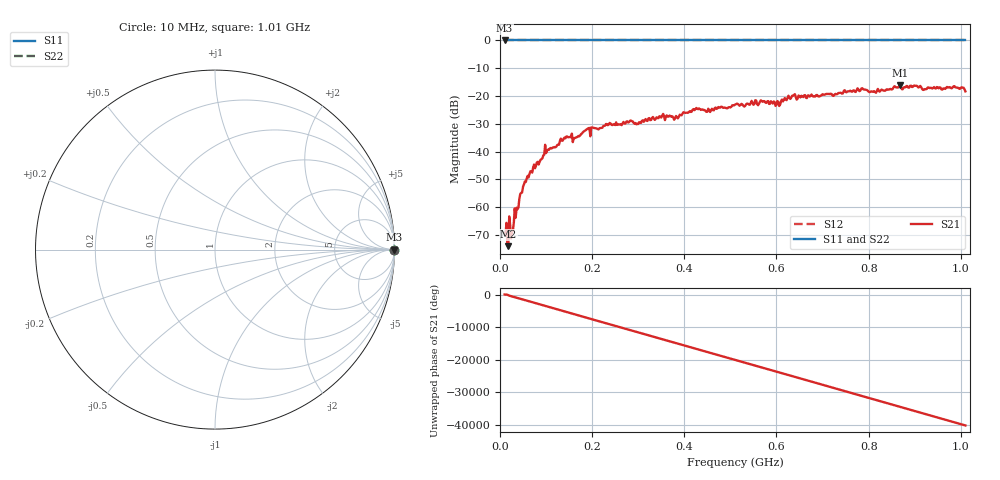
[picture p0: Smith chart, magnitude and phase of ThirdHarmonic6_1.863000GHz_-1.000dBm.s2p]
! 8/16/2025 10:31:49 PM
! C:\ANRITSUVNA\TEMP\TEMP.S2P
! CHANNEL.1
! TR.MEASUREMENT
! RAW.DATA
! RF.CORRECTION.OFF
! AVERAGING.OFF
! IF.BANDWIDTH: 5KHZ
! SWEEPTYPE:  FREQ.SWEEP(Linear)
! Reference Plane Port Info
! PORT:  PORT1  PORT2
! DISTANCE:  0  m  0  m
! TIME:  0  s  0  s
! PHASE.OFFSET:  0  deg.  0  deg.
! LOSS:  0  dB  0  dB
! REF.LOSS:  0  dB  0  dB
! REF.FREQ:  0  Hz  0  Hz
! Power Info
! POWER:  -20  dBm  -20  dBm
! EFF.POWER:  -20  dBm  -20  dBm
! SOURCE.ATTEN:  0  dB  0  dB
! TEST.ATTEN:  0  dB  0  dB
# GHZ S RI R 50.0
! FREQ.GHZ  S11RE  S11IM  S21RE  S21IM  S12RE  S12IM  S22RE  S22IM
!; PortSelection: Port_12
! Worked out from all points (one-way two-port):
!   501 points, 10 MHz to 1.01 GHz, reference 50 ohm
!   highest |S21| = -16.06 dB at 868 MHz (marker M1); lowest = -74.1 dB at 18 MHz (marker M2)
!   lowest |S11| = 0.0 dB at 10 MHz (marker M3)
!   |S11| at or under -10 dB: nowhere
!   |S22| runs from 0.0 to 0.0 dB; largest |S21 - S12| = 1.2
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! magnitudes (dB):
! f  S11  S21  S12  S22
! 10 MHz  0.0  -69.4  0.0  0.0
! 14 MHz  0.0  -65.7  0.0  0.0
! 18 MHz  0.0  -74.1  0.0  0.0
! 26 MHz  0.0  -68.3  0.0  0.0
! 46 MHz  0.0  -54.9  0.0  0.0
! 56 MHz  0.0  -51.0  0.0  0.0
! 98 MHz  0.0  -37.6  0.0  0.0
! 142 MHz  0.0  -35.3  0.0  0.0
! 162 MHz  0.0  -35.2  0.0  0.0
! 178 MHz  0.0  -33.5  0.0  0.0
! 234 MHz  0.0  -30.5  0.0  0.0
! 296 MHz  0.0  -30.2  0.0  0.0
! 344 MHz  0.0  -28.0  0.0  0.0
! 382 MHz  0.0  -27.2  0.0  0.0
! 424 MHz  0.0  -24.8  0.0  0.0
! 510 MHz  0.0  -23.1  0.0  0.0
! 602 MHz  0.0  -21.8  0.0  0.0
! 636 MHz  0.0  -19.9  0.0  0.0
! 678 MHz  0.0  -19.9  0.0  0.0
! 844 MHz  0.0  -17.7  0.0  0.0
! 868 MHz  0.0  -16.1  0.0  0.0
! 1.01 GHz  0.0  -18.3  0.0  0.0
